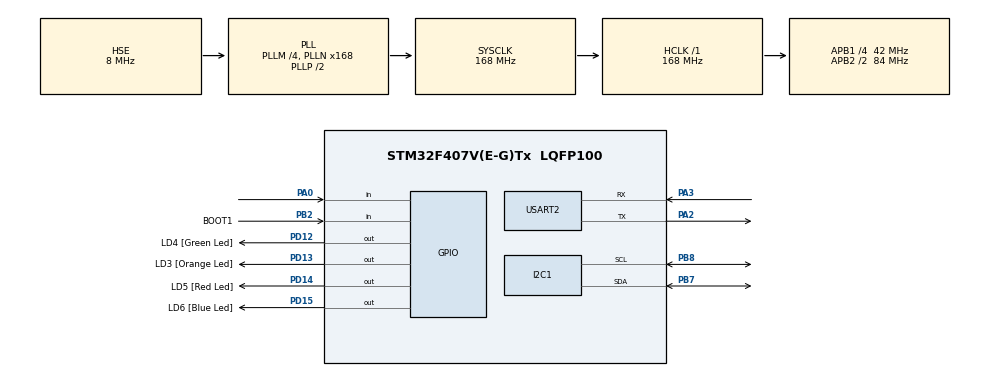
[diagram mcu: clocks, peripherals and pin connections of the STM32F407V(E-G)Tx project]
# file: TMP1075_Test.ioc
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I2C1.I2C_Mode=I2C_Fast
Mcu.Family=STM32F4
Mcu.Name=STM32F407V(E-G)Tx
Mcu.Package=LQFP100
NVIC.PriorityGroup=NVIC_PRIORITYGROUP_0
PA0-WKUP.Signal=GPIO_Input
PA13.GPIO_Label=SWDIO
PA13.Signal=SYS_JTMS-SWDIO
PA14.GPIO_Label=SWCLK
PA14.Signal=SYS_JTCK-SWCLK
PA2.Mode=Asynchronous
PA2.Signal=USART2_TX
PA3.Mode=Asynchronous
PA3.Signal=USART2_RX
PA4.GPIO_Label=I2S3_WS [CS43L22_LRCK]
PA4.GPIO_Mode=GPIO_MODE_AF_PP
PA4.GPIO_PuPd=GPIO_NOPULL
PA4.GPIO_Speed=GPIO_SPEED_FREQ_LOW
PA4.Signal=I2S3_WS
PA5.GPIO_Label=SPI1_SCK [LIS302DL_SCL/SPC]
PA5.GPIO_Mode=GPIO_MODE_AF_PP
PA5.GPIO_PuPd=GPIO_NOPULL
PA5.GPIO_Speed=GPIO_SPEED_FREQ_LOW
PA5.Signal=SPI1_SCK
PA6.GPIO_Label=SPI1_MISO [LIS302DL_SDO]
PA6.GPIO_Mode=GPIO_MODE_AF_PP
PA6.GPIO_PuPd=GPIO_NOPULL
PA6.GPIO_Speed=GPIO_SPEED_FREQ_LOW
PA6.Signal=SPI1_MISO
PA7.GPIO_Label=SPI1_MOSI [LIS302DL_SDA/SDI/SDO]
PA7.GPIO_Mode=GPIO_MODE_AF_PP
PA7.GPIO_PuPd=GPIO_NOPULL
PA7.GPIO_Speed=GPIO_SPEED_FREQ_LOW
PA7.Signal=SPI1_MOSI
PB10.GPIO_Label=CLK_IN [MP45DT02_CLK]
PB10.GPIO_Mode=GPIO_MODE_AF_PP
PB10.GPIO_PuPd=GPIO_NOPULL
PB10.GPIO_Speed=GPIO_SPEED_FREQ_LOW
PB10.Signal=I2S2_CK
PB2.GPIO_Label=BOOT1
PB2.GPIO_Mode=GPIO_MODE_INPUT
PB2.GPIO_PuPd=GPIO_NOPULL
PB2.Signal=GPIO_Input
PB3.GPIO_Label=SWO
PB3.Signal=SYS_JTDO-SWO
PB7.Mode=I2C
PB7.Signal=I2C1_SDA
PB8.Mode=I2C
PB8.Signal=I2C1_SCL
PC14-OSC32_IN.GPIO_Label=PC14-OSC32_IN
PC14-OSC32_IN.Mode=LSE-External-Oscillator
PC14-OSC32_IN.Signal=RCC_OSC32_IN
PC15-OSC32_OUT.GPIO_Label=PC15-OSC32_OUT
PC15-OSC32_OUT.Mode=LSE-External-Oscillator
PC15-OSC32_OUT.Signal=RCC_OSC32_OUT
PC7.GPIO_Label=I2S3_MCK [CS43L22_MCLK]
PC7.GPIO_Mode=GPIO_MODE_AF_PP
PC7.GPIO_PuPd=GPIO_NOPULL
PC7.GPIO_Speed=GPIO_SPEED_FREQ_LOW
PC7.Signal=I2S3_MCK
PD12.GPIO_Label=LD4 [Green Led]
PD12.GPIO_PuPd=GPIO_NOPULL
PD12.GPIO_Speed=GPIO_SPEED_FREQ_LOW
PD12.Signal=GPIO_Output
PD13.GPIO_Label=LD3 [Orange Led]
PD13.GPIO_PuPd=GPIO_NOPULL
PD13.GPIO_Speed=GPIO_SPEED_FREQ_LOW
PD13.Signal=GPIO_Output
PD14.GPIO_Label=LD5 [Red Led]
PD14.GPIO_PuPd=GPIO_NOPULL
PD14.GPIO_Speed=GPIO_SPEED_FREQ_LOW
PD14.Signal=GPIO_Output
PD15.GPIO_Label=LD6 [Blue Led]
PD15.GPIO_PuPd=GPIO_NOPULL
PD15.GPIO_Speed=GPIO_SPEED_FREQ_LOW
PD15.Signal=GPIO_Output
PH0-OSC_IN.GPIO_Label=PH0-OSC_IN
PH0-OSC_IN.Mode=HSE-External-Oscillator
PH0-OSC_IN.Signal=RCC_OSC_IN
PH1-OSC_OUT.GPIO_Label=PH1-OSC_OUT
PH1-OSC_OUT.Mode=HSE-External-Oscillator
PH1-OSC_OUT.Signal=RCC_OSC_OUT
ProjectManager.HeapSize=0x200
ProjectManager.StackSize=0x400
ProjectManager.TargetToolchain=STM32CubeIDE
RCC.48MHZClocksFreq_Value=48000000
RCC.AHBFreq_Value=168000000
RCC.APB1CLKDivider=RCC_HCLK_DIV4
RCC.APB1Freq_Value=42000000
RCC.APB1TimFreq_Value=84000000
RCC.APB2CLKDivider=RCC_HCLK_DIV2
RCC.APB2Freq_Value=84000000
RCC.APB2TimFreq_Value=168000000
RCC.CortexFreq_Value=168000000
RCC.EnbaleCSS=true
RCC.HCLKFreq_Value=168000000
RCC.HSE_VALUE=8000000
RCC.HSI_VALUE=16000000
RCC.PLLM=4
RCC.PLLN=168
RCC.PLLQ=7
RCC.PLLSourceVirtual=RCC_PLLSOURCE_HSE
RCC.SYSCLKFreq_VALUE=168000000
RCC.SYSCLKSource=RCC_SYSCLKSOURCE_PLLCLK
RCC.VCOOutputFreq_Value=336000000
USART2.VirtualMode=VM_ASYNC
board=STM32F407G-DISC1

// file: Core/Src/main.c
/* USER CODE BEGIN Header */
/**
  ******************************************************************************
  * @file           : main.c
  * @brief          : Main program body
  ******************************************************************************
  * @attention
  *
  * Copyright (c) 2026 STMicroelectronics.
  * All rights reserved.
  *
  * This software is licensed under terms that can be found in the LICENSE file
  * in the root directory of this software component.
  * If no LICENSE file comes with this software, it is provided AS-IS.
  *
  ******************************************************************************
  */
/* USER CODE END Header */
#include "main.h"

/* USER CODE BEGIN Includes */
#include "TMP01075.h"
#include <string.h>
#include <stdio.h>
/* USER CODE END Includes */

I2C_HandleTypeDef hi2c1;

UART_HandleTypeDef huart2;

/* USER CODE BEGIN PV */
TMP1075_Handle_t htmp;
/* USER CODE END PV */

void SystemClock_Config(void);
static void MX_GPIO_Init(void);
static void MX_I2C1_Init(void);
static void MX_USART2_UART_Init(void);

int main(void)
{

  /* USER CODE BEGIN 1 */
	uint32_t len;
	char c[50];
  /* USER CODE END 1 */

  /* MCU Configuration--------------------------------------------------------*/

  /* Reset of all peripherals, Initializes the Flash interface and the Systick. */
  HAL_Init();

  /* Configure the system clock */
  SystemClock_Config();

  /* Initialize all configured peripherals */
  MX_GPIO_Init();
  MX_I2C1_Init();
  MX_USART2_UART_Init();
  /* USER CODE BEGIN 2 */
  float ff;
  htmp.hi2c = &hi2c1;
  htmp.Init.dev_addr = 0x48<<1;
  htmp.Init.thermostat_mode = TMP1075_THERMOSTAT_INT_MODE;
  htmp.Init.conv_rate = TMP1075_CONV_RATE_220MS;
  htmp.Init.faults = TMP1075_FAULT_1;
  htmp.Init.op_mode = TMP1075_MODE_CONT_CONV;
  htmp.Init.pol = TMP1075_POL_HIGH;
  TMP1075_Init(&htmp);
  uint16_t val1 = 0x3C0; // 60°C
  uint16_t val2 = 0x320; // 50°C
  //TMP1075_Set_Lower_Limit(&htmp,0x1E0);
  TMP1075_Set_Upper_Limit(&htmp, val1);
  TMP1075_Set_Lower_Limit(&htmp, val2);
  uint8_t i=0;
  /* USER CODE END 2 */

  /* Infinite loop */
  while (1)
  {

    /* USER CODE BEGIN 3 */
	  if(HAL_GPIO_ReadPin(GPIOA, GPIO_PIN_0))
	  {
		  i++;
		  if(i>0)
		  {
			  TMP1075_Trigger_Conv(&htmp);
		  }
		  HAL_Delay(150);
		  TMP1075_Get_Temp_C(&htmp, &ff);
		  len = sprintf(c,"Temp: %f\r",ff);
		  HAL_UART_Transmit(&huart2,(uint8_t*)c,len, HAL_MAX_DELAY);
	  }
  }
  /* USER CODE END 3 */
}

void SystemClock_Config(void)
{
  RCC_OscInitTypeDef RCC_OscInitStruct = {0};
  RCC_ClkInitTypeDef RCC_ClkInitStruct = {0};

  /** Configure the main internal regulator output voltage
  */
  __HAL_RCC_PWR_CLK_ENABLE();
  __HAL_PWR_VOLTAGESCALING_CONFIG(PWR_REGULATOR_VOLTAGE_SCALE1);

  /** Initializes the RCC Oscillators according to the specified parameters
  * in the RCC_OscInitTypeDef structure.
  */
  RCC_OscInitStruct.OscillatorType = RCC_OSCILLATORTYPE_HSE;
  RCC_OscInitStruct.HSEState = RCC_HSE_ON;
  RCC_OscInitStruct.PLL.PLLState = RCC_PLL_ON;
  RCC_OscInitStruct.PLL.PLLSource = RCC_PLLSOURCE_HSE;
  RCC_OscInitStruct.PLL.PLLM = 4;
  RCC_OscInitStruct.PLL.PLLN = 168;
  RCC_OscInitStruct.PLL.PLLP = RCC_PLLP_DIV2;
  RCC_OscInitStruct.PLL.PLLQ = 7;
  if (HAL_RCC_OscConfig(&RCC_OscInitStruct) != HAL_OK)
  {
    Error_Handler();
  }

  /** Initializes the CPU, AHB and APB buses clocks
  */
  RCC_ClkInitStruct.ClockType = RCC_CLOCKTYPE_HCLK|RCC_CLOCKTYPE_SYSCLK
                              |RCC_CLOCKTYPE_PCLK1|RCC_CLOCKTYPE_PCLK2;
  RCC_ClkInitStruct.SYSCLKSource = RCC_SYSCLKSOURCE_PLLCLK;
  RCC_ClkInitStruct.AHBCLKDivider = RCC_SYSCLK_DIV1;
  RCC_ClkInitStruct.APB1CLKDivider = RCC_HCLK_DIV4;
  RCC_ClkInitStruct.APB2CLKDivider = RCC_HCLK_DIV2;

  if (HAL_RCC_ClockConfig(&RCC_ClkInitStruct, FLASH_LATENCY_5) != HAL_OK)
  {
    Error_Handler();
  }

  /** Enables the Clock Security System
  */
  HAL_RCC_EnableCSS();
}

static void MX_I2C1_Init(void)
{

  hi2c1.Instance = I2C1;
  hi2c1.Init.ClockSpeed = 400000;
  hi2c1.Init.DutyCycle = I2C_DUTYCYCLE_2;
  hi2c1.Init.OwnAddress1 = 0;
  hi2c1.Init.AddressingMode = I2C_ADDRESSINGMODE_7BIT;
  hi2c1.Init.DualAddressMode = I2C_DUALADDRESS_DISABLE;
  hi2c1.Init.OwnAddress2 = 0;
  hi2c1.Init.GeneralCallMode = I2C_GENERALCALL_DISABLE;
  hi2c1.Init.NoStretchMode = I2C_NOSTRETCH_DISABLE;
  if (HAL_I2C_Init(&hi2c1) != HAL_OK)
  {
    Error_Handler();
  }

}

static void MX_USART2_UART_Init(void)
{

  huart2.Instance = USART2;
  huart2.Init.BaudRate = 115200;
  huart2.Init.WordLength = UART_WORDLENGTH_8B;
  huart2.Init.StopBits = UART_STOPBITS_1;
  huart2.Init.Parity = UART_PARITY_NONE;
  huart2.Init.Mode = UART_MODE_TX_RX;
  huart2.Init.HwFlowCtl = UART_HWCONTROL_NONE;
  huart2.Init.OverSampling = UART_OVERSAMPLING_16;
  if (HAL_UART_Init(&huart2) != HAL_OK)
  {
    Error_Handler();
  }

}

static void MX_GPIO_Init(void)
{
  GPIO_InitTypeDef GPIO_InitStruct = {0};

  /* GPIO Ports Clock Enable */
  __HAL_RCC_GPIOC_CLK_ENABLE();
  __HAL_RCC_GPIOH_CLK_ENABLE();
  __HAL_RCC_GPIOA_CLK_ENABLE();
  __HAL_RCC_GPIOB_CLK_ENABLE();
  __HAL_RCC_GPIOD_CLK_ENABLE();

  /*Configure GPIO pin Output Level */
  HAL_GPIO_WritePin(GPIOD, LD4_Pin|LD3_Pin|LD5_Pin|LD6_Pin, GPIO_PIN_RESET);

  /*Configure GPIO pin : PA0 */
  GPIO_InitStruct.Pin = GPIO_PIN_0;
  GPIO_InitStruct.Mode = GPIO_MODE_INPUT;
  GPIO_InitStruct.Pull = GPIO_NOPULL;
  HAL_GPIO_Init(GPIOA, &GPIO_InitStruct);

  /*Configure GPIO pin : I2S3_WS_Pin */
  GPIO_InitStruct.Pin = I2S3_WS_Pin;
  GPIO_InitStruct.Mode = GPIO_MODE_AF_PP;
  GPIO_InitStruct.Pull = GPIO_NOPULL;
  GPIO_InitStruct.Speed = GPIO_SPEED_FREQ_LOW;
  GPIO_InitStruct.Alternate = GPIO_AF6_SPI3;
  HAL_GPIO_Init(I2S3_WS_GPIO_Port, &GPIO_InitStruct);

  /*Configure GPIO pins : SPI1_SCK_Pin SPI1_MISO_Pin SPI1_MOSI_Pin */
  GPIO_InitStruct.Pin = SPI1_SCK_Pin|SPI1_MISO_Pin|SPI1_MOSI_Pin;
  GPIO_InitStruct.Mode = GPIO_MODE_AF_PP;
  GPIO_InitStruct.Pull = GPIO_NOPULL;
  GPIO_InitStruct.Speed = GPIO_SPEED_FREQ_LOW;
  GPIO_InitStruct.Alternate = GPIO_AF5_SPI1;
  HAL_GPIO_Init(GPIOA, &GPIO_InitStruct);

  /*Configure GPIO pin : BOOT1_Pin */
  GPIO_InitStruct.Pin = BOOT1_Pin;
  GPIO_InitStruct.Mode = GPIO_MODE_INPUT;
  GPIO_InitStruct.Pull = GPIO_NOPULL;
  HAL_GPIO_Init(BOOT1_GPIO_Port, &GPIO_InitStruct);

  /*Configure GPIO pin : CLK_IN_Pin */
  GPIO_InitStruct.Pin = CLK_IN_Pin;
  GPIO_InitStruct.Mode = GPIO_MODE_AF_PP;
  GPIO_InitStruct.Pull = GPIO_NOPULL;
  GPIO_InitStruct.Speed = GPIO_SPEED_FREQ_LOW;
  GPIO_InitStruct.Alternate = GPIO_AF5_SPI2;
  HAL_GPIO_Init(CLK_IN_GPIO_Port, &GPIO_InitStruct);

  /*Configure GPIO pins : LD4_Pin LD3_Pin LD5_Pin LD6_Pin */
  GPIO_InitStruct.Pin = LD4_Pin|LD3_Pin|LD5_Pin|LD6_Pin;
  GPIO_InitStruct.Mode = GPIO_MODE_OUTPUT_PP;
  GPIO_InitStruct.Pull = GPIO_NOPULL;
  GPIO_InitStruct.Speed = GPIO_SPEED_FREQ_LOW;
  HAL_GPIO_Init(GPIOD, &GPIO_InitStruct);

  /*Configure GPIO pin : I2S3_MCK_Pin */
  GPIO_InitStruct.Pin = I2S3_MCK_Pin;
  GPIO_InitStruct.Mode = GPIO_MODE_AF_PP;
  GPIO_InitStruct.Pull = GPIO_NOPULL;
  GPIO_InitStruct.Speed = GPIO_SPEED_FREQ_LOW;
  GPIO_InitStruct.Alternate = GPIO_AF6_SPI3;
  HAL_GPIO_Init(I2S3_MCK_GPIO_Port, &GPIO_InitStruct);

}

void Error_Handler(void)
{
  __disable_irq();
  while (1)
  {
  }
}
